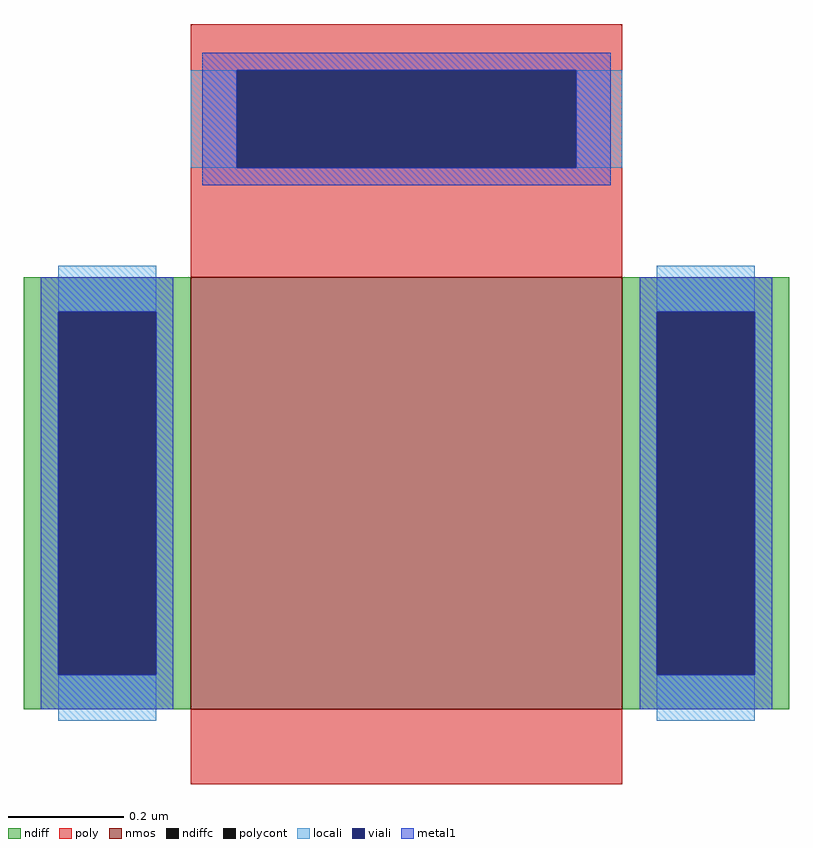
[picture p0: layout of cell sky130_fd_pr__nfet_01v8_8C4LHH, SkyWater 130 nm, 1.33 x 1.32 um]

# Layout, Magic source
magic
tech sky130A
magscale 1 2
<< nmos >>
rect -75 -106 75 44
<< ndiff >>
rect -133 32 -75 44
rect -133 -94 -121 32
rect -87 -94 -75 32
rect -133 -106 -75 -94
rect 75 32 133 44
rect 75 -94 87 32
rect 121 -94 133 32
rect 75 -106 133 -94
<< ndiffc >>
rect -121 -94 -87 32
rect 87 -94 121 32
<< poly >>
rect -75 116 75 132
rect -75 82 -59 116
rect 59 82 75 116
rect -75 44 75 82
rect -75 -132 75 -106
<< polycont >>
rect -59 82 59 116
<< locali >>
rect -75 82 -59 116
rect 59 82 75 116
rect -121 32 -87 48
rect -121 -110 -87 -94
rect 87 32 121 48
rect 87 -110 121 -94
<< viali >>
rect -59 82 59 116
rect -121 -94 -87 32
rect 87 -94 121 32
<< metal1 >>
rect -71 116 71 122
rect -71 82 -59 116
rect 59 82 71 116
rect -71 76 71 82
rect -127 32 -81 44
rect -127 -94 -121 32
rect -87 -94 -81 32
rect -127 -106 -81 -94
rect 81 32 127 44
rect 81 -94 87 32
rect 121 -94 127 32
rect 81 -106 127 -94
<< properties >>
string gencell sky130_fd_pr__nfet_01v8
string library sky130
string parameters w 0.75 l 0.75 m 1 nf 1 diffcov 100 polycov 100 guard 0 glc 1 grc 1 gtc 1 gbc 1 tbcov 100 rlcov 100 topc 1 botc 0 poverlap 0 doverlap 1 lmin 0.15 wmin 0.42 compatible {sky130_fd_pr__nfet_01v8 sky130_fd_pr__nfet_01v8_lvt  sky130_fd_bs_flash__special_sonosfet_star  sky130_fd_pr__nfet_g5v0d10v5 sky130_fd_pr__nfet_05v0_nvt  sky130_fd_pr__nfet_03v3_nvt} full_metal 1 viasrc 100 viadrn 100 viagate 100 viagb 0 viagr 0 viagl 0 viagt 0
<< end >>
